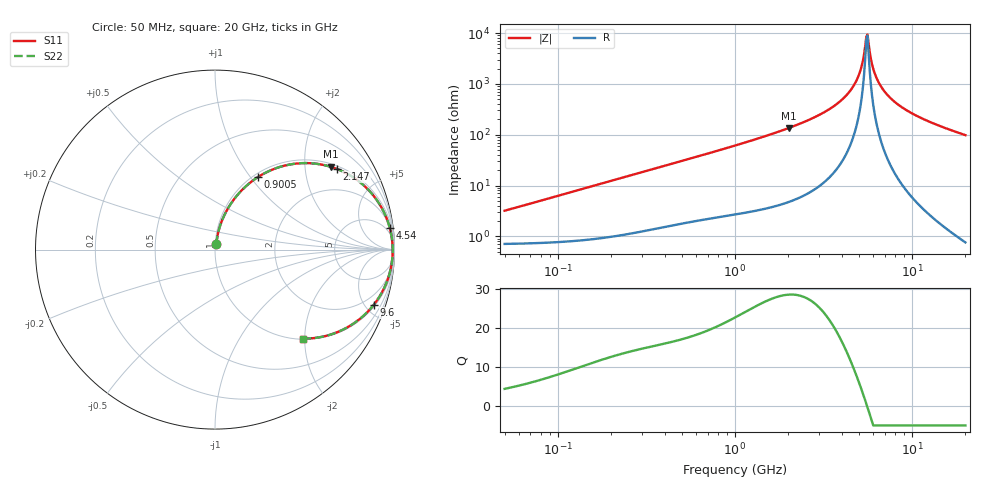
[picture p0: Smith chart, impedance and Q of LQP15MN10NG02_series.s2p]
!Murata Part Number: LQP15MN10NG02
!These Parameters are Measured in Series Mode Connection
!  o--[Z]--o
!Port1  Port2
!  o-------o
!Freq. Start=50[MHz] Stop=20[GHz], 401[Steps]
# Hz S RI R 50
!Freq.(Hz) S11(Real) S11(Imag) S21(Real) S21(Imag) S12(Real) S12(Imag) S22(Real) S22(Imag)
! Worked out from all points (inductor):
!   401 points, 50 MHz to 20 GHz, reference 50 ohm
!   read as one part in series: L = 9.89 nH near 51.52 MHz
!   highest Q = 28.6 at 2.022 GHz (marker M1), where L = 10.7 nH
!   self-resonance near 5.516 GHz
!   S11 on the Smith chart (normalised r, x): 50 MHz: 1.01, +0.06; 900.5 MHz: 1.05, +1.09; 2.147 GHz: 1.10, +2.95; 4.54 GHz: 2, +16; 9.6 GHz: 1.14, -5.68; 20 GHz: 1.02, -1.96
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5e7  0.00797 0.0306  0.992 -0.0306  0.992 -0.0306  0.00797 0.0306
1.364002e8  0.0152 0.0826  0.9848 -0.0826  0.9848 -0.0826  0.0152 0.0826
3.721004e8  0.0613 0.2102  0.9387 -0.2102  0.9387 -0.2102  0.0613 0.2102
9.00459e8  0.2409 0.4051  0.7591 -0.4051  0.7591 -0.4051  0.2409 0.4051
1e9  0.2802 0.4276  0.7198 -0.4276  0.7198 -0.4276  0.2802 0.4276
2.021818e9  0.6451 0.4613  0.3549 -0.4613  0.3549 -0.4613  0.6451 0.4613
2.146657e9  0.6792 0.4496  0.3208 -0.4496  0.3208 -0.4496  0.6792 0.4496
2.728004e9  0.8058 0.3774  0.1942 -0.3774  0.1942 -0.3774  0.8058 0.3774
3.680849e9  0.925 0.2392  0.075 -0.2392  0.075 -0.2392  0.925 0.2392
4.539627e9  0.9735 0.1219  0.0265 -0.1219  0.0265 -0.1219  0.9735 0.1219
5.041459e9  0.9858 0.0599  0.0142 -0.0599  0.0142 -0.0599  0.9858 0.0599
5.194772e9  0.9878 0.0419  0.0122 -0.0419  0.0122 -0.0419  0.9878 0.0419
5.433528e9  0.9896 0.0149  0.0104 -0.0149  0.0104 -0.0149  0.9896 0.0149
5.598765e9  0.99 -0.00318  0.01 0.00318  0.01 0.00318  0.99 -0.00318
5.683258e9  0.9899 -0.0122  0.0101 0.0122  0.0101 0.0122  0.9899 -0.0122
6.034176e9  0.9879 -0.0483  0.0121 0.0483  0.0121 0.0483  0.9879 -0.0483
6.311513e9  0.9847 -0.0753  0.0153 0.0753  0.0153 0.0753  0.9847 -0.0753
6.802353e9  0.976 -0.1199  0.024 0.1199  0.024 0.1199  0.976 -0.1199
7.442007e9  0.9601 -0.1722  0.0399 0.1722  0.0399 0.1722  0.9601 -0.1722
9.600142e9  0.8838 -0.3086  0.1162 0.3086  0.1162 0.3086  0.8838 -0.3086
1.396067e10  0.7013 -0.4515  0.2987 0.4515  0.2987 0.4515  0.7013 -0.4515
2e10  0.4901 -0.4961  0.5099 0.4961  0.5099 0.4961  0.4901 -0.4961
